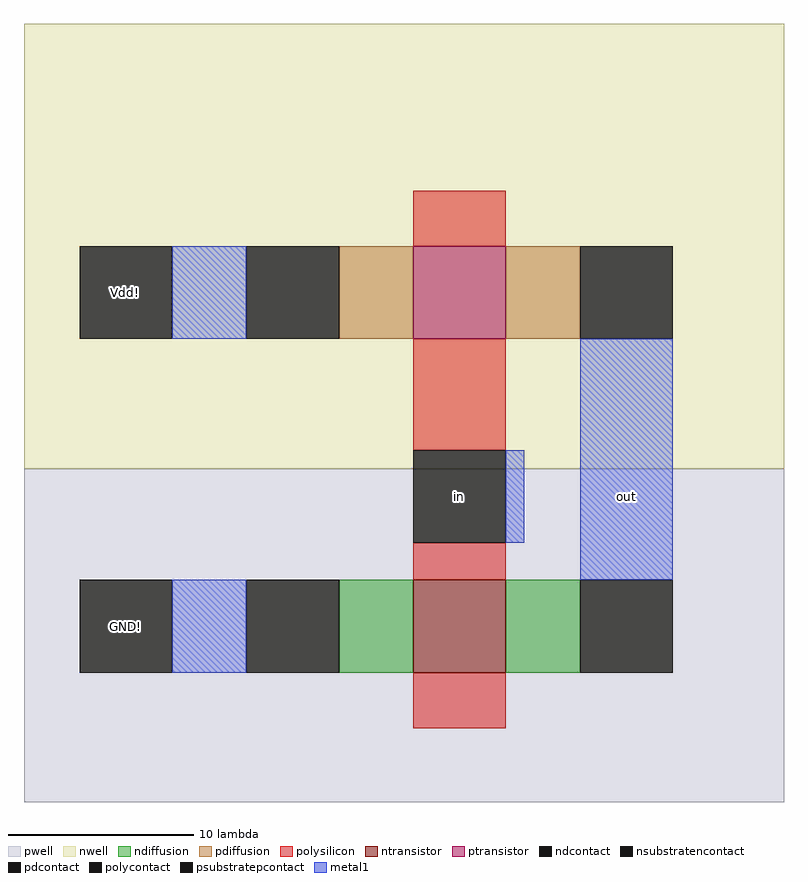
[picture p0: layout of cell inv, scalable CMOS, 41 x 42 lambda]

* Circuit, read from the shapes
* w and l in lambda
.subckt inv GND! Vdd! in out
M1 out in GND! GND! nfet w=5 l=5
M2 out in Vdd! Vdd! pfet w=5 l=5
.ends

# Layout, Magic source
magic
tech scmos
<< nwell >>
rect -23 -2 18 22
<< pwell >>
rect -23 -20 18 -2
<< ntransistor >>
rect -2 -13 3 -8
<< ptransistor >>
rect -2 5 3 10
<< ndiffusion >>
rect -6 -13 -2 -8
rect 3 -13 7 -8
<< pdiffusion >>
rect -6 5 -2 10
rect 3 5 7 10
<< ndcontact >>
rect -11 -13 -6 -8
rect 7 -13 12 -8
<< pdcontact >>
rect -11 5 -6 10
rect 7 5 12 10
<< psubstratepcontact >>
rect -20 -13 -15 -8
<< nsubstratencontact >>
rect -20 5 -15 10
<< polysilicon >>
rect -2 10 3 13
rect -2 -1 3 5
rect -2 -8 3 -6
rect -2 -16 3 -13
<< polycontact >>
rect -2 -6 3 -1
<< metal1 >>
rect -15 5 -11 10
rect 3 -6 4 -1
rect 7 -8 12 5
rect -15 -13 -11 -8
<< labels >>
rlabel polycontact 0 -4 1 -3 1 in
rlabel metal1 9 -4 10 -3 1 out
rlabel nsubstratencontact -18 7 -17 8 1 Vdd!
rlabel psubstratepcontact -18 -11 -17 -10 1 GND!
<< end >>
